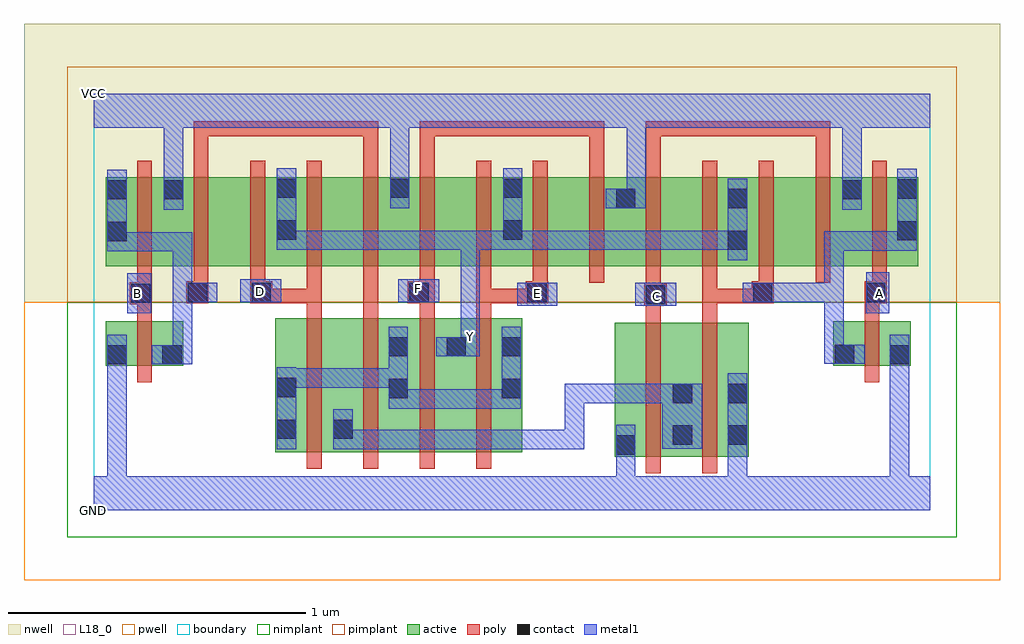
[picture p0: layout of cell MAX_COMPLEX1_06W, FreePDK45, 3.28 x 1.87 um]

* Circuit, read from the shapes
.subckt MAX_COMPLEX1_06W A B C D E F GND VCC Y
M1 n1 B GND VSUBS nfet w=0.15u l=0.05u
M2 n2 D n3 VSUBS nfet w=0.45u l=0.05u
M3 n3 n1 n2 VSUBS nfet w=0.45u l=0.05u
M4 Y F n3 VSUBS nfet w=0.45u l=0.05u
M5 n3 E Y VSUBS nfet w=0.45u l=0.05u
M6 n2 C GND VSUBS nfet w=0.45u l=0.05u
M7 GND n4 n2 VSUBS nfet w=0.45u l=0.05u
M8 GND A n4 VSUBS nfet w=0.15u l=0.05u
M9 VCC B n1 n5 pfet w=0.3u l=0.05u
M10 n6 n1 VCC n5 pfet w=0.3u l=0.05u
M11 Y D n6 n5 pfet w=0.3u l=0.05u
M12 n7 D Y n5 pfet w=0.3u l=0.05u
M13 VCC n1 n7 n5 pfet w=0.3u l=0.05u
M14 n8 F VCC n5 pfet w=0.3u l=0.05u
M15 Y E n8 n5 pfet w=0.3u l=0.05u
M16 n9 E Y n5 pfet w=0.3u l=0.05u
M17 VCC F n9 n5 pfet w=0.3u l=0.05u
M18 n10 C VCC n5 pfet w=0.3u l=0.05u
M19 Y n4 n10 n5 pfet w=0.3u l=0.05u
M20 n11 n4 Y n5 pfet w=0.3u l=0.05u
M21 VCC C n11 n5 pfet w=0.3u l=0.05u
M22 n4 A VCC n5 pfet w=0.3u l=0.05u
.ends

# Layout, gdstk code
import gdstk
lib = gdstk.Library(unit=1e-6, precision=1e-09)
def R(c, l, rs):  # rectangles x0, y0, x1, y1
    for r in rs: c.add(gdstk.rectangle(r[:2], r[2:], *l))
def A(c, l, x, y, w, h, nx, ny, dx, dy):  # array of equal rectangles
    R(c, l, [(x+i*dx, y+j*dy, x+i*dx+w, y+j*dy+h) for i in range(nx) for j in range(ny)])
active = (1, 0)
pwell = (2, 0)
nwell = (3, 0)
nimplant = (4, 0)
pimplant = (5, 0)
poly = (9, 0)
contact = (10, 0)
metal1 = (11, 0)
L18_0 = (18, 0)
boundary = (235, 0)

max_complex1_06w = lib.new_cell('MAX_COMPLEX1_06W')
A(max_complex1_06w, active, 0.23, 0.82, 0.225, 0.3, 5, 1, 0.38, 0)
A(max_complex1_06w, active, 0.455, 0.82, 0.23, 0.3, 4, 1, 0.38, 0)
R(max_complex1_06w, active, [(1.75,0.18,2.015,0.63), (1.75,0.18,1.825,0.63), (1.94,0.18,2.2,0.63), (0.61,0.195,0.875,0.645), (0.61,0.195,0.685,0.645), (0.8,0.195,1.06,0.645), (0.8,0.195,0.875,0.542), (0.985,0.195,1.06,0.587), (0.985,0.195,1.255,0.645), (1.18,0.195,1.44,0.645), (1.18,0.195,1.255,0.587), (1.365,0.195,1.44,0.645), (1.94,0.195,2.015,0.542), (2.125,0.195,2.2,0.63), (0.04,0.485,0.115,0.635), (0.04,0.485,0.3,0.635), (0.225,0.485,0.3,0.635), (2.485,0.485,2.745,0.635), (2.67,0.485,2.745,0.635), (2.485,0.487,2.56,0.635), (0.04,0.82,0.115,1.12), (0.04,0.82,0.305,1.12), (0.23,0.82,0.305,1.12), (0.61,0.82,0.685,1.12), (1.37,0.82,1.445,1.12), (1.975,0.82,2.2,1.12), (2.125,0.82,2.2,1.12), (2.125,0.82,2.355,1.12), (2.355,0.82,2.585,1.12), (2.51,0.82,2.585,1.12), (2.51,0.82,2.77,1.12), (2.695,0.82,2.77,1.12), (0.99,0.852,1.065,1.12), (1.75,0.852,1.825,1.12)])
R(max_complex1_06w, pwell, [(-0.235,-0.235,3.045,0.7)])
R(max_complex1_06w, nwell, [(-0.235,0.7,3.045,1.635)])
R(max_complex1_06w, nimplant, [(-0.09,-0.09,2.9,0.7)])
R(max_complex1_06w, pimplant, [(-0.09,0.7,2.9,1.49)])
A(max_complex1_06w, poly, 0.715, 0.14, 0.05, 0.56, 4, 1, 0.19, 0)
A(max_complex1_06w, poly, 0.145, 0.765, 0.05, 0.41, 14, 1, 0.19, 0)
R(max_complex1_06w, poly, [(1.855,0.125,1.905,0.685), (2.045,0.125,2.095,0.685), (0.145,0.43,0.195,0.69), (2.59,0.43,2.64,0.69), (1.855,0.635,1.905,0.737), (2.045,0.635,2.095,0.745), (0.145,0.64,0.195,0.742), (2.59,0.64,2.64,0.745), (0.715,0.65,0.765,0.745), (0.905,0.65,0.955,0.77), (1.095,0.65,1.145,0.745), (1.285,0.65,1.335,0.745), (1.85,0.687,1.925,0.762), (0.12,0.692,0.195,0.767), (0.31,0.695,0.385,0.77), (0.525,0.695,0.6,0.77), (0.55,0.695,0.762,0.745), (0.712,0.695,0.762,0.745), (0.712,0.695,0.762,0.745), (0.712,0.695,0.765,0.745), (0.715,0.695,0.765,0.815), (1.055,0.695,1.145,0.77), (1.285,0.695,1.335,0.745), (1.285,0.695,1.335,0.815), (1.285,0.695,1.502,0.745), (1.452,0.695,1.527,0.77), (1.452,0.695,1.502,0.745), (1.452,0.695,1.502,0.745), (2.045,0.695,2.095,0.745), (2.045,0.695,2.26,0.745), (2.045,0.695,2.095,0.815), (2.21,0.695,2.285,0.77), (2.21,0.695,2.26,0.745), (2.21,0.695,2.26,0.745), (2.59,0.695,2.665,0.77), (1.855,0.712,1.905,0.815), (0.145,0.717,0.195,0.815), (0.335,0.72,0.385,0.815), (0.525,0.72,0.575,0.815), (0.905,0.72,0.955,0.815), (0.905,0.72,0.955,0.77), (1.095,0.72,1.145,0.815), (1.475,0.72,1.525,0.815), (2.235,0.72,2.285,0.815), (2.615,0.72,2.665,0.815), (0.335,1.125,0.385,1.307), (0.905,1.125,0.955,1.307), (1.095,1.125,1.145,1.307), (1.665,1.125,1.715,1.307), (1.855,1.125,1.905,1.307), (2.425,1.125,2.475,1.307), (0.335,1.257,0.385,1.307), (0.335,1.257,0.385,1.307), (0.335,1.257,0.385,1.307), (0.335,1.257,0.63,1.307), (0.58,1.257,0.63,1.307), (0.58,1.257,0.63,1.307), (0.58,1.257,0.63,1.307), (0.58,1.257,0.822,1.307), (0.772,1.257,0.822,1.307), (0.772,1.257,0.955,1.307), (0.905,1.257,0.955,1.307), (0.905,1.257,0.955,1.307), (0.905,1.257,0.955,1.307), (1.095,1.257,1.145,1.307), (1.095,1.257,1.145,1.307), (1.095,1.257,1.145,1.307), (1.095,1.257,1.37,1.307), (1.32,1.257,1.37,1.307), (1.32,1.257,1.502,1.307), (1.452,1.257,1.502,1.307), (1.452,1.257,1.502,1.307), (1.452,1.257,1.502,1.307), (1.452,1.257,1.715,1.307), (1.665,1.257,1.715,1.307), (1.665,1.257,1.715,1.307), (1.665,1.257,1.715,1.307), (1.855,1.257,1.905,1.307), (1.855,1.257,2.127,1.307), (2.077,1.257,2.127,1.307), (2.077,1.257,2.127,1.307), (2.077,1.257,2.127,1.307), (2.077,1.257,2.26,1.307), (2.21,1.257,2.26,1.307), (2.21,1.257,2.26,1.307), (2.21,1.257,2.26,1.307), (2.21,1.257,2.475,1.307), (2.425,1.257,2.475,1.307), (2.425,1.257,2.475,1.307), (2.425,1.257,2.475,1.307)])
A(max_complex1_06w, contact, 0.615, 1.05, 0.065, 0.065, 3, 1, 0.38, 0)
R(max_complex1_06w, contact, [(1.755,0.187,1.82,0.252), (1.945,0.22,2.01,0.285), (2.13,0.22,2.195,0.285), (0.615,0.24,0.68,0.305), (0.805,0.24,0.87,0.305), (1.945,0.36,2.01,0.425), (2.13,0.36,2.195,0.425), (0.99,0.377,1.055,0.442), (1.37,0.377,1.435,0.442), (0.615,0.38,0.68,0.445), (0.045,0.49,0.11,0.555), (0.23,0.49,0.295,0.555), (2.675,0.49,2.74,0.555), (2.49,0.492,2.555,0.557), (0.99,0.517,1.055,0.582), (1.185,0.517,1.25,0.582), (1.37,0.517,1.435,0.582), (1.855,0.692,1.92,0.757), (0.125,0.697,0.19,0.762), (0.315,0.7,0.38,0.765), (0.53,0.7,0.595,0.765), (1.06,0.7,1.125,0.765), (1.457,0.7,1.522,0.765), (2.215,0.7,2.28,0.765), (2.595,0.7,2.66,0.765), (2.13,0.875,2.195,0.94), (0.045,0.905,0.11,0.97), (2.7,0.907,2.765,0.972), (0.615,0.91,0.68,0.975), (1.375,0.91,1.44,0.975), (1.755,1.015,1.82,1.08), (2.13,1.015,2.195,1.08), (0.045,1.045,0.11,1.11), (0.235,1.045,0.3,1.11), (2.515,1.045,2.58,1.11), (2.7,1.047,2.765,1.112)])
R(max_complex1_06w, metal1, [(0,0,2.81,0.115), (0.045,0.05,0.11,0.115), (0.045,0.05,0.11,0.115), (0.045,0.05,0.11,0.115), (0.045,0.05,0.11,0.115), (0.045,0.05,0.11,0.52), (1.755,0.05,1.82,0.115), (1.755,0.05,1.82,0.115), (1.755,0.05,1.82,0.217), (2.13,0.05,2.195,0.115), (2.13,0.05,2.195,0.115), (2.13,0.05,2.195,0.25), (2.675,0.05,2.74,0.115), (2.675,0.05,2.74,0.115), (2.675,0.05,2.74,0.115), (2.675,0.05,2.74,0.115), (2.675,0.05,2.74,0.115), (2.675,0.05,2.74,0.115), (2.675,0.05,2.74,0.52), (1.755,0.152,1.82,0.287), (2.13,0.185,2.195,0.46), (0.615,0.205,0.68,0.48), (0.805,0.205,0.87,0.27), (0.805,0.205,0.87,0.34), (0.805,0.205,0.872,0.27), (0.807,0.205,1.077,0.27), (1.012,0.205,1.077,0.27), (1.012,0.205,1.077,0.27), (1.012,0.205,1.077,0.27), (1.012,0.205,1.297,0.27), (1.232,0.205,1.297,0.27), (1.232,0.205,1.297,0.27), (1.232,0.205,1.297,0.27), (1.232,0.205,1.435,0.27), (1.37,0.205,1.435,0.27), (1.37,0.205,1.545,0.27), (1.48,0.205,1.545,0.27), (1.48,0.205,1.647,0.27), (1.582,0.205,1.647,0.27), (1.582,0.205,1.647,0.27), (1.582,0.205,1.647,0.27), (1.582,0.205,1.647,0.425), (1.91,0.207,2.045,0.425), (0.99,0.342,1.055,0.407), (0.99,0.342,1.055,0.407), (0.99,0.342,1.055,0.407), (0.99,0.342,1.055,0.407), (0.99,0.342,1.055,0.617), (0.99,0.342,1.297,0.407), (1.232,0.342,1.297,0.407), (1.232,0.342,1.297,0.407), (1.232,0.342,1.297,0.407), (1.232,0.342,1.435,0.407), (1.37,0.342,1.435,0.617), (1.582,0.36,1.647,0.425), (1.582,0.36,1.682,0.425), (1.617,0.36,1.682,0.425), (1.617,0.36,1.785,0.425), (1.72,0.36,1.785,0.425), (1.72,0.36,1.97,0.425), (1.905,0.36,1.97,0.425), (1.905,0.36,1.975,0.425), (0.615,0.412,0.68,0.477), (0.615,0.412,0.68,0.477), (0.615,0.412,0.875,0.477), (0.81,0.412,0.875,0.477), (0.81,0.412,0.875,0.477), (0.81,0.412,0.875,0.477), (0.81,0.412,1.055,0.477), (0.045,0.455,0.11,0.52), (0.045,0.455,0.11,0.52), (0.045,0.455,0.11,0.59), (2.675,0.455,2.74,0.59), (0.195,0.49,0.33,0.555), (0.265,0.49,0.33,0.765), (2.455,0.492,2.52,0.765), (2.455,0.492,2.59,0.557), (1.15,0.517,1.297,0.582), (1.232,0.517,1.297,0.582), (1.232,0.517,1.297,0.652), (1.232,0.587,1.297,0.94), (0.112,0.662,0.192,0.797), (2.595,0.662,2.672,0.8), (1.422,0.687,1.557,0.765), (1.82,0.687,1.957,0.765), (0.265,0.7,0.33,0.765), (0.265,0.7,0.345,0.765), (0.265,0.7,0.33,0.935), (0.28,0.7,0.415,0.765), (0.492,0.7,0.63,0.777), (1.022,0.7,1.16,0.777), (2.18,0.7,2.315,0.765), (2.25,0.7,2.315,0.765), (2.25,0.7,2.315,0.765), (2.25,0.7,2.52,0.765), (2.455,0.7,2.52,0.765), (2.455,0.7,2.52,0.765), (2.455,0.7,2.52,0.765), (2.455,0.7,2.52,0.937), (2.13,0.84,2.195,1.115), (0.045,0.87,0.11,0.935), (0.045,0.87,0.11,0.935), (0.045,0.87,0.11,1.145), (0.045,0.87,0.33,0.935), (0.265,0.87,0.33,0.935), (2.455,0.872,2.52,0.937), (2.455,0.872,2.765,0.937), (2.7,0.872,2.765,0.937), (2.7,0.872,2.765,0.937), (2.7,0.872,2.765,1.147), (0.615,0.875,0.68,0.94), (0.615,0.875,0.68,0.94), (0.615,0.875,0.68,1.15), (0.615,0.875,0.875,0.94), (0.81,0.875,0.875,0.94), (0.81,0.875,0.875,0.94), (0.81,0.875,0.875,0.94), (0.81,0.875,1.012,0.94), (0.947,0.875,1.012,0.94), (0.947,0.875,1.012,0.94), (0.947,0.875,1.012,0.94), (0.947,0.875,1.297,0.94), (1.232,0.875,1.297,0.94), (1.232,0.875,1.297,0.94), (1.232,0.875,1.297,0.94), (1.232,0.875,1.44,0.94), (1.375,0.875,1.44,1.15), (1.375,0.875,1.545,0.94), (1.48,0.875,1.545,0.94), (1.48,0.875,1.577,0.94), (1.512,0.875,1.577,0.94), (1.512,0.875,1.682,0.94), (1.617,0.875,1.682,0.94), (1.617,0.875,1.832,0.94), (1.767,0.875,1.832,0.94), (1.767,0.875,1.97,0.94), (1.905,0.875,1.97,0.94), (1.905,0.875,1.97,0.94), (1.905,0.875,1.97,0.94), (1.905,0.875,2.107,0.94), (2.042,0.875,2.107,0.94), (2.042,0.875,2.195,0.94), (0.235,1.01,0.3,1.145), (2.515,1.01,2.58,1.145), (0.995,1.015,1.06,1.15), (1.72,1.015,1.855,1.08), (1.79,1.015,1.855,1.08), (1.79,1.015,1.855,1.08), (1.79,1.015,1.855,1.35), (0.235,1.08,0.3,1.35), (2.515,1.08,2.58,1.35), (0.995,1.085,1.06,1.15), (0.995,1.085,1.06,1.15), (0.995,1.085,1.06,1.35), (0,1.285,2.81,1.4), (0.235,1.285,0.3,1.35), (0.235,1.285,0.3,1.35), (2.515,1.285,2.58,1.35), (2.515,1.285,2.58,1.35)])
R(max_complex1_06w, L18_0, [(0,0,2.81,0.115), (0.045,0.05,0.11,0.115), (0.045,0.05,0.11,0.115), (0.045,0.05,0.11,0.115), (0.045,0.05,0.11,0.115), (0.045,0.05,0.11,0.52), (1.755,0.05,1.82,0.115), (1.755,0.05,1.82,0.115), (1.755,0.05,1.82,0.217), (2.13,0.05,2.195,0.115), (2.13,0.05,2.195,0.115), (2.13,0.05,2.195,0.25), (2.675,0.05,2.74,0.115), (2.675,0.05,2.74,0.115), (2.675,0.05,2.74,0.115), (2.675,0.05,2.74,0.115), (2.675,0.05,2.74,0.115), (2.675,0.05,2.74,0.115), (2.675,0.05,2.74,0.52), (1.755,0.152,1.82,0.287), (2.13,0.185,2.195,0.46), (0.045,0.455,0.11,0.52), (0.045,0.455,0.11,0.52), (0.045,0.455,0.11,0.59), (2.675,0.455,2.74,0.59), (1.15,0.517,1.297,0.582), (1.232,0.517,1.297,0.582), (1.232,0.517,1.297,0.652), (1.232,0.552,1.297,0.617), (1.232,0.587,1.297,0.94), (0.112,0.662,0.192,0.797), (2.595,0.662,2.672,0.8), (1.422,0.687,1.557,0.765), (1.82,0.687,1.957,0.765), (1.857,0.687,1.922,0.752), (0.112,0.697,0.177,0.762), (1.457,0.697,1.522,0.762), (2.607,0.697,2.672,0.762), (0.492,0.7,0.63,0.777), (1.022,0.7,1.16,0.777), (0.527,0.702,0.592,0.767), (1.057,0.712,1.122,0.777), (2.13,0.84,2.195,1.115), (0.615,0.875,0.68,0.94), (0.615,0.875,0.68,0.94), (0.615,0.875,0.68,1.15), (0.615,0.875,0.875,0.94), (0.81,0.875,0.875,0.94), (0.81,0.875,0.875,0.94), (0.81,0.875,0.875,0.94), (0.81,0.875,1.012,0.94), (0.947,0.875,1.012,0.94), (0.947,0.875,1.012,0.94), (0.947,0.875,1.012,0.94), (0.947,0.875,1.297,0.94), (1.232,0.875,1.297,0.94), (1.232,0.875,1.297,0.94), (1.232,0.875,1.297,0.94), (1.232,0.875,1.44,0.94), (1.375,0.875,1.44,1.15), (1.375,0.875,1.545,0.94), (1.48,0.875,1.545,0.94), (1.48,0.875,1.577,0.94), (1.512,0.875,1.577,0.94), (1.512,0.875,1.682,0.94), (1.617,0.875,1.682,0.94), (1.617,0.875,1.832,0.94), (1.767,0.875,1.832,0.94), (1.767,0.875,1.97,0.94), (1.905,0.875,1.97,0.94), (1.905,0.875,1.97,0.94), (1.905,0.875,1.97,0.94), (1.905,0.875,2.107,0.94), (2.042,0.875,2.107,0.94), (2.042,0.875,2.195,0.94), (0.235,1.01,0.3,1.145), (2.515,1.01,2.58,1.145), (0.995,1.015,1.06,1.15), (1.72,1.015,1.855,1.08), (1.79,1.015,1.855,1.08), (1.79,1.015,1.855,1.08), (1.79,1.015,1.855,1.35), (0.235,1.08,0.3,1.35), (2.515,1.08,2.58,1.35), (0.995,1.085,1.06,1.15), (0.995,1.085,1.06,1.15), (0.995,1.085,1.06,1.35), (0,1.285,2.81,1.4), (0.235,1.285,0.3,1.35), (0.235,1.285,0.3,1.35), (2.515,1.285,2.58,1.35), (2.515,1.285,2.58,1.35)])
R(max_complex1_06w, boundary, [(0,0,2.81,1.4)])
max_complex1_06w.add(gdstk.Label('A', (2.64,0.73), layer=11, texttype=0))
max_complex1_06w.add(gdstk.Label('B', (0.145,0.73), layer=11, texttype=0))
max_complex1_06w.add(gdstk.Label('C', (1.89,0.72), layer=11, texttype=0))
max_complex1_06w.add(gdstk.Label('D', (0.56,0.735), layer=11, texttype=0))
max_complex1_06w.add(gdstk.Label('E', (1.49,0.73), layer=11, texttype=0))
max_complex1_06w.add(gdstk.Label('F', (1.09,0.745), layer=11, texttype=0))
max_complex1_06w.add(gdstk.Label('Y', (1.265,0.585), layer=11, texttype=0))
max_complex1_06w.add(gdstk.Label('VCC', (0,1.4), layer=11, texttype=0))
max_complex1_06w.add(gdstk.Label('GND', (0,0), layer=11, texttype=0))

lib.write_gds('MAX_COMPLEX1_06W.gds')
